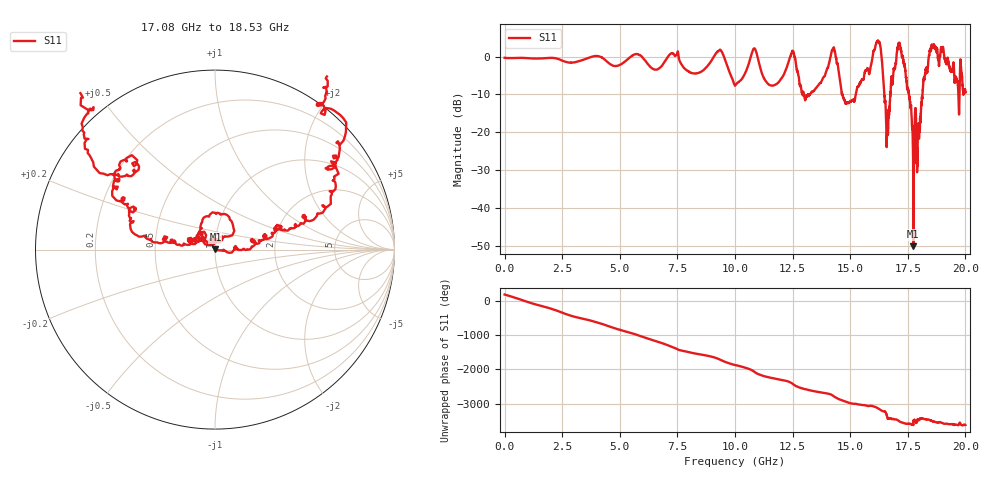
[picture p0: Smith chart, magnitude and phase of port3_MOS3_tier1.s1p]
! Created with skrf 1.8.0 (http://scikit-rf.org).
# GHz S RI R 50.0
!freq ReS11 ImS11
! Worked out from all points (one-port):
!   10001 points, 1 MHz to 20 GHz, reference 50 ohm
!   lowest |S11| = -50.1 dB at 17.74 GHz (marker M1), VSWR 1.01, Z = 50.3 + j0.186 ohm
!   |S11| at or under -10 dB: 14.66 GHz to 15.24 GHz (580.1 MHz wide, 3.88 % of centre); 16.48 GHz to 16.74 GHz (259.4 MHz wide, 1.56 % of centre); 17.55 GHz to 18.14 GHz (587.1 MHz wide, 3.29 % of centre) (the widest 3 of 11)
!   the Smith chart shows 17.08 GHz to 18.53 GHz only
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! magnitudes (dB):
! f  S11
! 1 MHz  -0.3
! 2.501 GHz  -1.1
! 5.001 GHz  -2.2
! 5.745 GHz  0.7
! 6.593 GHz  -3.4
! 7.501 GHz  1.0
! 8.311 GHz  -4.4
! 9.363 GHz  1.8
! 10 GHz  -7.7
! 10.82 GHz  2.1
! 11.59 GHz  -7.6
! 12.5 GHz  1.5
! 13.12 GHz  -10.5
! 13.81 GHz  -5.7
! 14.27 GHz  2.2
! 14.71 GHz  -11.0
! 15 GHz  -11.9
! 16.2 GHz  4.0
! 16.34 GHz  1.2
! 16.6 GHz  -20.1
! 17.11 GHz  3.5
! 17.5 GHz  -8.7
! 17.74 GHz  -50.1
! 17.97 GHz  -18.0
! 18.21 GHz  -6.0
! 18.57 GHz  2.7
! 19.02 GHz  2.1
! 20 GHz  -9.4
